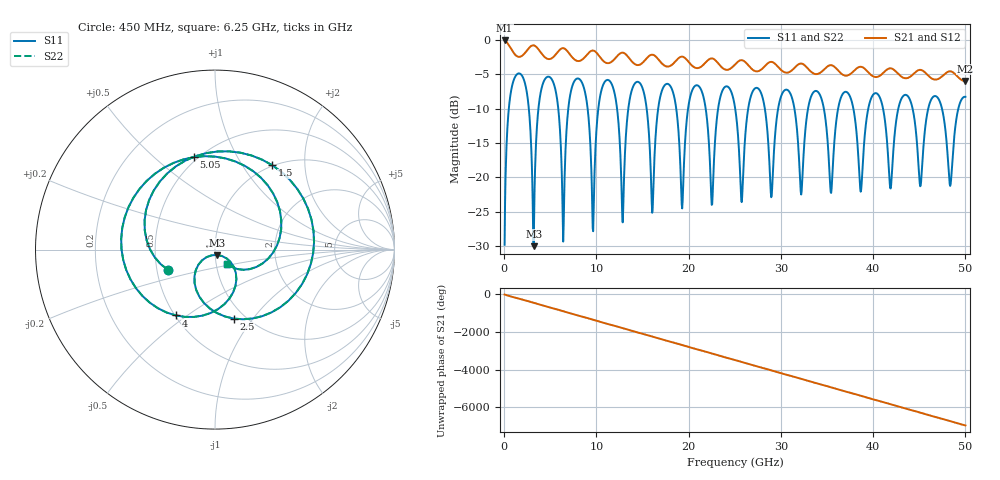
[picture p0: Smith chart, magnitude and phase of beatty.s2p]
# Hz S RI R 50.0
!freq ReS11 ImS11 ReS21 ImS21 ReS12 ImS12 ReS22 ImS22
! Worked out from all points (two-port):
!   1000 points, 50 MHz to 50 GHz, reference 50 ohm
!   highest |S21| = -0.10 dB at 50 MHz (marker M1); lowest = -6.0 dB at 50 GHz (marker M2)
!   |S21| within 3 dB of the highest: start of sweep to 10.77 GHz; 11.74 GHz to 13.81 GHz (2.068 GHz wide, 16.2 % of centre)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
!   lowest |S11| = -30.0 dB at 3.2 GHz (marker M3), VSWR 1.07, Z = 51 - j3.04 ohm
!   |S11| at or under -10 dB: 41.07 GHz to 42.73 GHz (1.654 GHz wide, 3.95 % of centre); 44.28 GHz to 45.97 GHz (1.695 GHz wide, 3.76 % of centre); 47.46 GHz to 49.23 GHz (1.773 GHz wide, 3.67 % of centre)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
!   |S22| runs from -30.0 to -4.9 dB; largest |S21 - S12| = 3.5e-15
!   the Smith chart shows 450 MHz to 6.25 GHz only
!   S11 on the Smith chart (normalised r, x): 450 MHz: 0.57, -0.14; 1.5 GHz: 0.99, +1.37; 2.5 GHz: 0.89, -0.81; 4 GHz: 0.50, -0.45; 5.05 GHz: 0.48, +0.68; 6.25 GHz: 1.13, -0.18
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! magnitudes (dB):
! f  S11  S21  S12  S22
! 50 MHz  -29.8  -0.1  -0.1  -29.8
! 450 MHz  -10.9  -0.7  -0.7  -10.9
! 1.5 GHz  -4.9  -2.5  -2.5  -4.9
! 2.5 GHz  -8.0  -1.5  -1.5  -8.0
! 3.2 GHz  -30.0  -0.8  -0.8  -30.0
! 4 GHz  -7.4  -1.9  -1.9  -7.4
! 5.05 GHz  -5.5  -2.8  -2.8  -5.5
! 6.25 GHz  -19.5  -1.2  -1.2  -19.5
! 8.4 GHz  -6.1  -2.9  -2.9  -6.1
! 9.6 GHz  -27.4  -1.6  -1.6  -27.4
! 10.95 GHz  -6.0  -3.3  -3.3  -6.0
! 12.85 GHz  -26.5  -1.9  -1.9  -26.5
! 14.05 GHz  -6.6  -3.4  -3.4  -6.6
! 16.05 GHz  -25.1  -2.2  -2.2  -25.1
! 16.7 GHz  -10.0  -2.8  -2.8  -10.0
! 25.05 GHz  -10.0  -3.6  -3.6  -10.0
! 28.95 GHz  -22.9  -3.2  -3.2  -22.9
! 30.8 GHz  -7.4  -4.7  -4.7  -7.4
! 32.2 GHz  -22.5  -3.5  -3.5  -22.5
! 33.35 GHz  -8.0  -4.7  -4.7  -8.0
! 41.7 GHz  -18.7  -4.2  -4.2  -18.7
! 50 GHz  -8.3  -6.0  -6.0  -8.3
